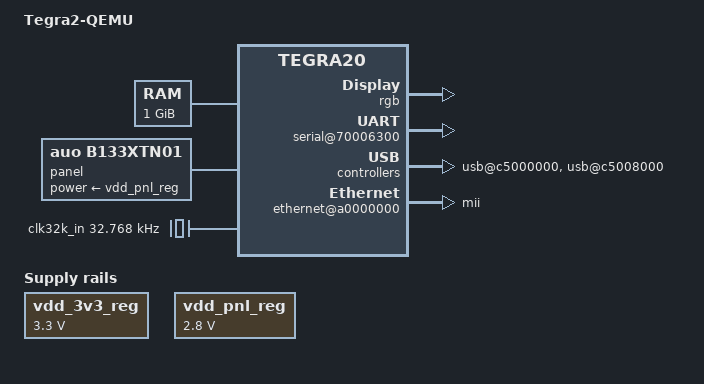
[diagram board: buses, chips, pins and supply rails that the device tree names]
/dts-v1/;

#include <dt-bindings/input/input.h>
#include "tegra20.dtsi"

/ {
	model = "Tegra2-QEMU";
	compatible = "qemu,tegra20", "nvidia,tegra20";

	memory {
		reg = <0x00000000 0x40000000>;
	};

	aliases {
		rtc0 = "/rtc@7000e000";
		serial0 = &uartd;
	};

	host1x@50000000 {
		compatible = "nvidia,tegra20-host1x", "simple-bus";
		ranges;

		dc@54200000 {
			rgb {
				status = "okay";

				nvidia,panel = <&panel>;
			};
		};
	};

	video-decoder@0x6001a000 {
		compatible = "nvidia,tegra20-vde";
		reg = <0x6001a000 0x3D00    /* VDE registers */
		       0x40000400 0x3FC00>; /* IRAM area */
		reg-names = "regs", "iram";
		interrupts = <GIC_SPI 9 IRQ_TYPE_LEVEL_HIGH>;
		interrupt-names = "sync-token";
		clocks = <&tegra_car TEGRA20_CLK_VDE>;
		clock-names = "vde";
		resets = <&tegra_car TEGRA20_CLK_VDE>;
		reset-names = "vde";
	};

	pmc@7000e400 {
		nvidia,invert-interrupt;
		nvidia,suspend-mode = <1>;
		nvidia,cpu-pwr-good-time = <2000>;
		nvidia,cpu-pwr-off-time = <100>;
		nvidia,core-pwr-good-time = <3845 3845>;
		nvidia,core-pwr-off-time = <458>;
		nvidia,sys-clock-req-active-high;
	};

	serial@70006300 {
		status = "okay";
	};

	panel: panel {
		compatible = "auo,b133xtn01", "simple-panel";

		power-supply = <&vdd_pnl_reg>;
	};

	clocks {
		compatible = "simple-bus";
		#address-cells = <1>;
		#size-cells = <0>;

		clk32k_in: clock@0 {
			compatible = "fixed-clock";
			reg=<0>;
			#clock-cells = <0>;
			clock-frequency = <32768>;
		};
	};

	sdhci@c8000600 {
		status = "disabled";
		bus-width = <4>;
		non-removable;
	};

	usb@c5000000 {
		status = "okay";
	};

	usb-phy@c5000000 {
		status = "okay";
	};

	usb@c5008000 {
		status = "okay";
	};

	usb-phy@c5008000 {
		status = "okay";
	};

	regulators {
		compatible = "simple-bus";
		#address-cells = <1>;
		#size-cells = <0>;

		vdd_3v3_reg: regulator@0 {
			compatible = "regulator-fixed";
			reg = <0>;
			regulator-name = "vdd_3v3";
			regulator-min-microvolt = <3300000>;
			regulator-max-microvolt = <3300000>;
			regulator-always-on;
		};

		vdd_pnl_reg: regulator@1 {
			compatible = "regulator-fixed";
			reg = <1>;
			regulator-name = "vdd_pnl";
			regulator-min-microvolt = <2800000>;
			regulator-max-microvolt = <2800000>;
		};
	};

	ethernet@a0000000 {
		compatible = "smsc,lan9118", "smsc,lan9115";
		reg = <0xa0000000 0x10000>;
		interrupts = <GIC_SPI 95 IRQ_TYPE_LEVEL_HIGH>;
		phy-mode = "mii";
		reg-io-width = <4>;
		smsc,irq-active-high;
		smsc,irq-push-pull;
		vdd33a-supply = <&vdd_3v3_reg>;
		vddvario-supply = <&vdd_3v3_reg>;
	};
};
